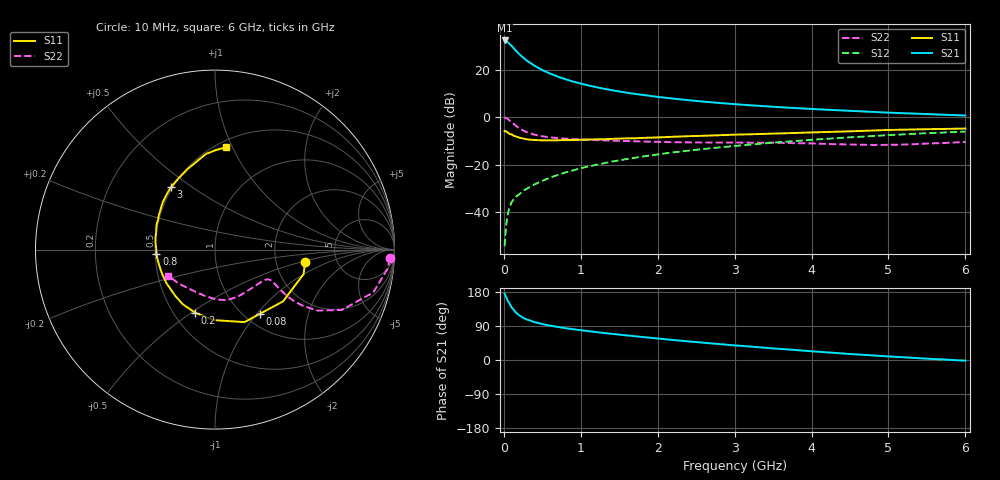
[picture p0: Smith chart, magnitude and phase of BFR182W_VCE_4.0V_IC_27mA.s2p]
! Infineon Technologies  Discrete & RF Semiconductors
! BFR182W
! VCE =  4.0 V,  IC =  27 mA
! Common Emitter S-Parameters:  Jan 2017
# GHz  S  MA  R  50
!  f  S11  S21  S12  S22
! GHz  MAG  ANG  MAG  ANG  MAG  ANG  MAG  ANG
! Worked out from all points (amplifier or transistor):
!   77 points, 10 MHz to 6 GHz, reference 50 ohm
!   highest |S21| = 32.3 dB at 10 MHz (marker M1)
!   |S21| within 3 dB of that: start of sweep to 120.7 MHz
!   unconditionally stable (mu >= 1): 680 MHz to 2.238 GHz
!   at 130 MHz: K = 0.48, MSG = 31.8 dB, |S12| = -34.6 dB
!   at 2.2 GHz: K = 1.00, MAG = 11.0 dB, |S12| = -14.9 dB
!   at 6 GHz: K = 0.86, MSG = 3.4 dB, |S12| = -6.1 dB
!   S11 on the Smith chart (normalised r, x): 10 MHz: 2.94, -0.54; 80 MHz: 1.17, -1.04; 200 MHz: 0.64, -0.52; 800 MHz: 0.51, -0.03; 3 GHz: 0.49, +0.42; 6 GHz: 0.56, +0.94
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0.01  0.5064 -7.8  41.18 174.8  0.0019 89.3  0.9767 -2.9
0.02  0.5121 -15.5  41.13 170.3  0.0033 90.2  0.9668 -6.4
0.05  0.4765 -37.2  38.21 156.8  0.0089 74.6  0.9133 -15.2
0.08  0.4366 -55.0  33.93 146.9  0.0131 69.1  0.8308 -21.0
0.1  0.436 -67.8  31.77 138.9  0.0159 67.1  0.7814 -25.5
0.15  0.3932 -90.7  25.83 126.5  0.0206 65.2  0.666 -30.7
0.2  0.3686 -107.7  21.3 117.8  0.0235 65.7  0.5812 -32.6
0.25  0.353 -120.9  17.97 111.4  0.0279 65.3  0.5219 -33.1
0.3  0.3399 -130.5  15.42 106.8  0.0309 65.6  0.4778 -32.8
0.4  0.329 -145.1  12.03 99.8  0.0382 67.4  0.425 -31.5
0.5  0.3245 -155.7  9.781 94.8  0.0452 69.2  0.3933 -30.3
0.6  0.3231 -163.8  8.261 90.7  0.053 69.8  0.3738 -29.4
0.8  0.3268 -176.0  6.288 84.0  0.068 71.8  0.3507 -28.8
0.9  0.3273 179.4  5.603 81.2  0.0753 71.6  0.3432 -29.1
1.1  0.3355 171.0  4.643 76.2  0.0911 72.0  0.3325 -30.1
1.5  0.3517 158.1  3.461 67.0  0.1224 70.9  0.315 -34.5
2.1  0.3782 143.0  2.555 54.8  0.1714 67.6  0.2976 -45.4
3  0.4256 125.3  1.871 38.5  0.2458 61.0  0.2903 -66.0
3.1  0.4292 123.5  1.823 37.1  0.2542 60.1  0.2892 -68.2
4.1  0.4794 107.2  1.455 21.6  0.3398 51.2  0.2745 -90.9
5.1  0.5387 94.2  1.222 8.3  0.4238 41.3  0.2611 -123.3
6  0.5725 83.9  1.077 -1.8  0.4945 31.9  0.2986 -150.7
